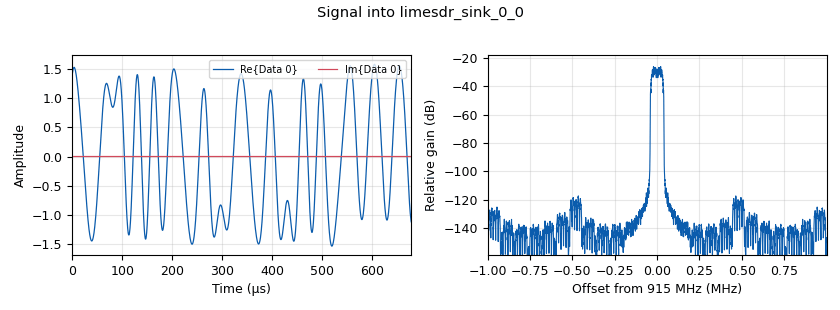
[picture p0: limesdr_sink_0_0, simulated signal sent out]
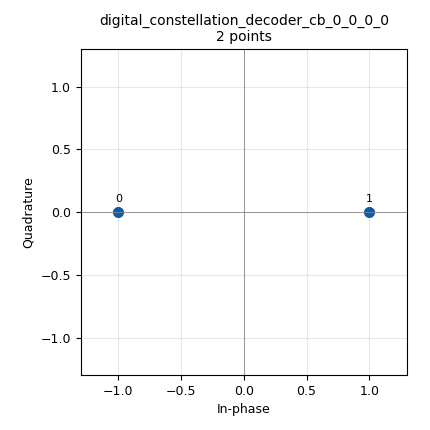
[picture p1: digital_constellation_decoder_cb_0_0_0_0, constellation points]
options:
  parameters:
    category: Custom
    generate_options: qt_gui
    id: bpsk_timing
    output_language: python
  states: {}

blocks:
- name: baseband
  id: variable_qtgui_entry
  parameters:
    label: RX Baseband [MHz]
    type: real
    value: '915'
  states: {}
- name: const
  id: variable
  parameters:
    value: digital.bpsk_constellation()
  states: {}
- name: constellation
  id: variable_constellation
  parameters:
    precision: '8'
    type: bpsk
  states: {}
- name: delay
  id: variable_qtgui_entry
  parameters:
    type: int
    value: '0'
  states: {}
- name: freq_offset
  id: variable_qtgui_range
  parameters:
    gui_hint: 4,2,1,1
    label: Frequency Offset
    orient: Qt.Horizontal
    start: '-.5'
    step: '.01'
    stop: '.5'
    value: '0'
  states: {}
- name: gain
  id: variable_qtgui_range
  parameters:
    label: Gain [dB]
    min_len: '70'
    orient: Qt.Horizontal
    rangeType: int
    start: '0'
    step: '1'
    stop: '60'
    value: '30'
  states: {}
- name: interpratio
  id: variable_qtgui_range
  parameters:
    gui_hint: 2,2,1,1
    label: Timing Offset
    orient: Qt.Horizontal
    start: '.99'
    step: '0.0001'
    stop: '1.01'
    value: '1'
  states: {}
- name: nfilts
  id: variable
  parameters:
    value: '32'
  states: {}
- name: noise_amp
  id: variable_qtgui_range
  parameters:
    gui_hint: 3,2,1,1
    label: Channel Noise
    orient: Qt.Horizontal
    start: '0'
    step: '.001'
    stop: '1'
    value: '0'
  states: {}
- name: rolloff
  id: variable
  parameters:
    value: '.35'
  states: {}
- name: samp_rate
  id: variable
  parameters:
    value: 2e6
  states: {}
- name: sig_amp
  id: variable
  parameters:
    value: '1'
  states: {}
- name: spb
  id: variable
  parameters:
    value: '4.2563'
  states: {}
- name: time_bw
  id: variable_qtgui_range
  parameters:
    gui_hint: 1,2,1,1
    label: Timing Loop BW
    orient: Qt.Horizontal
    start: '0'
    step: '.001'
    stop: '.1'
    value: '0'
  states: {}
- name: trans_width
  id: variable_qtgui_range
  parameters:
    label: Transition width
    orient: Qt.Horizontal
    start: 10e3
    step: '500'
    stop: 500e3
    value: 10e3
  states: {state: disabled}
- name: analog_random_source_x
  id: analog_random_source_x
  parameters:
    max: const.arity()
    min: '0'
    num_samps: '10000000'
    repeat: 'True'
    type: byte
  states: {state: disabled}
- name: analog_random_source_x_0
  id: analog_random_source_x
  parameters:
    max: '256'
    min: '0'
    num_samps: '10000'
    repeat: 'True'
    type: byte
  states: {}
- name: blocks_char_to_float_0
  id: blocks_char_to_float
  parameters:
    scale: '1'
  states: {}
- name: blocks_char_to_float_0_0
  id: blocks_char_to_float
  parameters:
    scale: '1'
  states: {}
- name: blocks_delay_1
  id: blocks_delay
  parameters:
    delay: '0'
    type: complex
  states: {}
- name: blocks_file_source_0
  id: blocks_file_source
  parameters:
    file: /home/wbarnhart/ch1
    offset: '1000'
    repeat: 'False'
    type: complex
  states: {state: disabled}
- name: blocks_file_source_0_0
  id: blocks_file_source
  parameters:
    file: /home/wbarnhart/ch2
    offset: '1000'
    repeat: 'False'
    type: complex
  states: {state: disabled}
- name: blocks_file_source_1
  id: blocks_file_source
  parameters:
    file: /home/wbarnhart/bittest
    repeat: 'True'
    type: byte
  states: {state: disabled}
- name: blocks_throttle_0
  id: blocks_throttle
  parameters:
    samples_per_second: samp_rate
    type: complex
  states: {}
- name: blocks_throttle_0_0
  id: blocks_throttle
  parameters:
    samples_per_second: samp_rate
    type: complex
  states: {}
- name: digital_chunks_to_symbols_xx
  id: digital_chunks_to_symbols_xx
  parameters:
    dimension: '1'
    in_type: byte
    out_type: complex
    symbol_table: const.points()
  states: {state: disabled}
- name: digital_cma_equalizer_cc_0
  id: digital_cma_equalizer_cc
  parameters:
    modulus: '1'
    mu: '1'
    num_taps: '15'
    sps: '4'
  states: {}
- name: digital_cma_equalizer_cc_0_0
  id: digital_cma_equalizer_cc
  parameters:
    modulus: '1'
    mu: '1'
    num_taps: '15'
    sps: '4'
  states: {}
- name: digital_constellation_decoder_cb_0_0
  id: digital_constellation_decoder_cb
  parameters:
    constellation: const
  states: {state: disabled}
- name: digital_constellation_decoder_cb_0_0_0
  id: digital_constellation_decoder_cb
  parameters:
    constellation: const
  states: {state: disabled}
- name: digital_constellation_decoder_cb_0_0_0_0
  id: digital_constellation_decoder_cb
  parameters:
    constellation: constellation
  states: {}
- name: digital_constellation_decoder_cb_0_0_0_0_0
  id: digital_constellation_decoder_cb
  parameters:
    constellation: constellation
  states: {}
- name: digital_constellation_modulator_1
  id: digital_constellation_modulator
  parameters:
    constellation: constellation
    differential: 'False'
    excess_bw: '0.35'
    samples_per_symbol: int(2*25/6)
  states: {}
- name: digital_costas_loop_cc_0
  id: digital_costas_loop_cc
  parameters:
    order: '4'
    w: time_bw
  states: {}
- name: digital_costas_loop_cc_0_0
  id: digital_costas_loop_cc
  parameters:
    order: '4'
    w: time_bw
  states: {}
- name: digital_pfb_clock_sync_xxx_0
  id: digital_pfb_clock_sync_xxx
  parameters:
    filter_size: nfilts
    init_phase: '0'
    loop_bw: time_bw
    max_dev: '1'
    osps: '1'
    sps: '8'
    taps: firdes.root_raised_cosine(nfilts, nfilts*spb, 1.0, rolloff, 44*nfilts)
    type: ccf
  states: {state: disabled}
- name: digital_pfb_clock_sync_xxx_0_0
  id: digital_pfb_clock_sync_xxx
  parameters:
    filter_size: nfilts
    init_phase: '0'
    loop_bw: time_bw
    max_dev: '1'
    osps: '1'
    sps: '8'
    taps: firdes.root_raised_cosine(nfilts, nfilts*spb, 1.0, rolloff, 44*nfilts)
    type: ccf
  states: {state: disabled}
- name: digital_symbol_sync_xx_0
  id: digital_symbol_sync_xx
  parameters:
    damping: '1.0'
    loop_bw: '0.045'
    max_dev: '1.5'
    osps: '1'
    resamp_type: digital.IR_MMSE_8TAP
    sps: '8'
    ted_gain: '1.0'
    ted_type: digital.TED_MUELLER_AND_MULLER
    type: cc
  states: {}
- name: digital_symbol_sync_xx_0_0
  id: digital_symbol_sync_xx
  parameters:
    damping: '1.0'
    loop_bw: '0.045'
    max_dev: '1.5'
    osps: '1'
    resamp_type: digital.IR_MMSE_8TAP
    sps: '8'
    ted_gain: '1.0'
    ted_type: digital.TED_MUELLER_AND_MULLER
    type: cc
  states: {}
- name: fec_ber_bf_0
  id: fec_ber_bf
  parameters:
    test_mode: 'False'
  states: {}
- name: fec_ber_bf_0_0
  id: fec_ber_bf
  parameters:
    test_mode: 'False'
  states: {state: disabled}
- name: fec_ber_bf_0_1
  id: fec_ber_bf
  parameters:
    test_mode: 'False'
  states: {}
- name: fec_ber_bf_0_1_0
  id: fec_ber_bf
  parameters:
    test_mode: 'False'
  states: {}
- name: import_0
  id: import
  parameters:
    imports: from gnuradio import digital
  states: {}
- name: limesdr_sink_0_0
  id: limesdr_sink
  parameters:
    allow_tcxo_dac: '0'
    channel_mode: '0'
    comment: LimeSDR Mini here!
    gain_dB_ch0: gain
    oversample: '0'
    rf_freq: baseband*1e6
    samp_rate: samp_rate
    serial: 1D423F7CD55972
  states: {}
- name: limesdr_source_0
  id: limesdr_source
  parameters:
    allow_tcxo_dac: '0'
    analog_bandw_ch0: 2e6
    analog_bandw_ch1: 2e6
    channel_mode: '2'
    comment: |-
      1: Vertical
      2: Horizontal
    digital_bandw_ch0: 1.8e6
    digital_bandw_ch1: 1.8e6
    gain_dB_ch0: gain
    gain_dB_ch1: gain
    lna_path_ch0: '3'
    lna_path_ch1: '3'
    oversample: '0'
    rf_freq: baseband*1e6
    samp_rate: 2e6
    serial: 0009070105C62E09
  states: {}
- name: notebook
  id: qtgui_tab_widget
  parameters:
    gui_hint: 1,1,5,1
    label0: Error
    label1: Phase
    label2: Freq
    label3: Resampled Signal
    label4: Errors
    num_tabs: '5'
  states: {state: disabled}
- name: pfb_arb_resampler_xxx_0_0_0
  id: pfb_arb_resampler_xxx
  parameters:
    atten: '100'
    nfilts: '32'
    rrate: '1'
    taps: firdes.root_raised_cosine(nfilts, nfilts, 1.0, rolloff, 44*nfilts)
    type: ccf
  states: {state: disabled}
- name: pfb_arb_resampler_xxx_0_0_0_0
  id: pfb_arb_resampler_xxx
  parameters:
    atten: '100'
    nfilts: '32'
    rrate: spb
    taps: firdes.root_raised_cosine(nfilts, nfilts, 1.0, rolloff, 44*nfilts)
    type: ccf
  states: {state: disabled}
- name: qtgui_freq_sink_x_0
  id: qtgui_freq_sink_x
  parameters:
    bw: samp_rate
    fc: baseband*1e6
    fftsize: '2048'
    name: '"Transmiting data"'
    type: complex
    wintype: firdes.WIN_BLACKMAN_hARRIS
  states: {state: disabled}
- name: qtgui_number_sink_0
  id: qtgui_number_sink
  parameters:
    graph_type: qtgui.NUM_GRAPH_HORIZ
    gui_hint: notebook@4
    type: float
    update_time: '1'
  states: {state: disabled}
- name: qtgui_number_sink_0_0_1_0
  id: qtgui_number_sink
  parameters:
    autoscale: 'True'
    color1: ("blue", "red")
    color2: ("blue", "red")
    color3: ("blue", "red")
    graph_type: qtgui.NUM_GRAPH_HORIZ
    label1: BER
    min: '0'
    name: '"Synchronized"'
    nconnections: '3'
    type: float
    unit3: Consolidated
    update_time: '0.1'
  states: {}
- name: qtgui_time_sink_x_0
  id: qtgui_time_sink_x
  parameters:
    gui_hint: notebook@3
    label1: ''
    label2: ''
    name: Error
    size: '1024'
    srate: samp_rate
    type: complex
  states: {state: disabled}
- name: qtgui_time_sink_x_0_0
  id: qtgui_time_sink_x
  parameters:
    autoscale: 'True'
    ctrlpanel: 'True'
    grid: 'True'
    gui_hint: 30,0,15,2
    label1: ''
    label2: ''
    label3: ''
    label4: ''
    name: Scope Plot
    nconnections: '2'
    size: '1024'
    srate: samp_rate
    type: complex
  states: {}
- name: qtgui_time_sink_x_1
  id: qtgui_time_sink_x
  parameters:
    autoscale: 'True'
    gui_hint: notebook@0
    label1: ''
    name: Error
    size: '1024'
    srate: samp_rate
    type: float
  states: {state: disabled}
- name: qtgui_time_sink_x_1_0
  id: qtgui_time_sink_x
  parameters:
    autoscale: 'True'
    gui_hint: notebook@2
    label1: ''
    name: Rate
    size: '1024'
    srate: samp_rate
    type: float
  states: {state: disabled}
- name: qtgui_time_sink_x_1_1
  id: qtgui_time_sink_x
  parameters:
    autoscale: 'True'
    gui_hint: notebook@1
    label1: ''
    name: Phase
    size: '1024'
    srate: samp_rate
    type: float
  states: {state: disabled}
- name: qtgui_time_sink_x_2
  id: qtgui_time_sink_x
  parameters:
    ctrlpanel: 'True'
    grid: 'True'
    nconnections: '2'
    size: '1024'
    srate: samp_rate
    tr_mode: qtgui.TRIG_MODE_NORM
    type: float
    ymax: '3'
  states: {}
- name: rational_resampler_xxx_0
  id: rational_resampler_xxx
  parameters:
    decim: '6'
    interp: '25'
    taps: ''
    type: ccc
  states: {}

connections:
- [analog_random_source_x, '0', digital_chunks_to_symbols_xx, '0']
- [analog_random_source_x_0, '0', digital_constellation_modulator_1, '0']
- [analog_random_source_x_0, '0', fec_ber_bf_0, '0']
- [analog_random_source_x_0, '0', fec_ber_bf_0_1, '0']
- [blocks_char_to_float_0, '0', qtgui_time_sink_x_2, '0']
- [blocks_char_to_float_0_0, '0', qtgui_time_sink_x_2, '1']
- [blocks_delay_1, '0', digital_pfb_clock_sync_xxx_0, '0']
- [blocks_delay_1, '0', digital_symbol_sync_xx_0, '0']
- [blocks_file_source_1, '0', fec_ber_bf_0_0, '1']
- [blocks_throttle_0, '0', blocks_delay_1, '0']
- [blocks_throttle_0_0, '0', digital_pfb_clock_sync_xxx_0_0, '0']
- [blocks_throttle_0_0, '0', digital_symbol_sync_xx_0_0, '0']
- [digital_cma_equalizer_cc_0, '0', blocks_throttle_0, '0']
- [digital_cma_equalizer_cc_0_0, '0', blocks_throttle_0_0, '0']
- [digital_constellation_decoder_cb_0_0, '0', fec_ber_bf_0_0, '0']
- [digital_constellation_decoder_cb_0_0_0, '0', fec_ber_bf_0_0, '1']
- [digital_constellation_decoder_cb_0_0_0_0, '0', blocks_char_to_float_0, '0']
- [digital_constellation_decoder_cb_0_0_0_0, '0', fec_ber_bf_0, '1']
- [digital_constellation_decoder_cb_0_0_0_0, '0', fec_ber_bf_0_1_0, '0']
- [digital_constellation_decoder_cb_0_0_0_0_0, '0', blocks_char_to_float_0_0, '0']
- [digital_constellation_decoder_cb_0_0_0_0_0, '0', fec_ber_bf_0_1, '1']
- [digital_constellation_decoder_cb_0_0_0_0_0, '0', fec_ber_bf_0_1_0, '1']
- [digital_constellation_modulator_1, '0', rational_resampler_xxx_0, '0']
- [digital_costas_loop_cc_0, '0', digital_constellation_decoder_cb_0_0_0_0, '0']
- [digital_costas_loop_cc_0, '0', qtgui_time_sink_x_0_0, '0']
- [digital_costas_loop_cc_0_0, '0', digital_constellation_decoder_cb_0_0_0_0_0, '0']
- [digital_costas_loop_cc_0_0, '0', qtgui_time_sink_x_0_0, '1']
- [digital_pfb_clock_sync_xxx_0, '0', digital_costas_loop_cc_0, '0']
- [digital_pfb_clock_sync_xxx_0, '0', pfb_arb_resampler_xxx_0_0_0, '0']
- [digital_pfb_clock_sync_xxx_0, '1', qtgui_time_sink_x_1, '0']
- [digital_pfb_clock_sync_xxx_0, '2', qtgui_time_sink_x_1_0, '0']
- [digital_pfb_clock_sync_xxx_0, '3', qtgui_time_sink_x_1_1, '0']
- [digital_pfb_clock_sync_xxx_0_0, '0', digital_costas_loop_cc_0_0, '0']
- [digital_pfb_clock_sync_xxx_0_0, '0', pfb_arb_resampler_xxx_0_0_0_0, '0']
- [digital_symbol_sync_xx_0, '0', digital_costas_loop_cc_0, '0']
- [digital_symbol_sync_xx_0_0, '0', digital_costas_loop_cc_0_0, '0']
- [fec_ber_bf_0, '0', qtgui_number_sink_0_0_1_0, '0']
- [fec_ber_bf_0_0, '0', qtgui_number_sink_0, '0']
- [fec_ber_bf_0_1, '0', qtgui_number_sink_0_0_1_0, '1']
- [fec_ber_bf_0_1_0, '0', qtgui_number_sink_0_0_1_0, '2']
- [limesdr_source_0, '0', digital_cma_equalizer_cc_0, '0']
- [limesdr_source_0, '1', digital_cma_equalizer_cc_0_0, '0']
- [pfb_arb_resampler_xxx_0_0_0, '0', digital_constellation_decoder_cb_0_0, '0']
- [pfb_arb_resampler_xxx_0_0_0_0, '0', digital_constellation_decoder_cb_0_0_0, '0']
- [rational_resampler_xxx_0, '0', limesdr_sink_0_0, '0']
- [rational_resampler_xxx_0, '0', qtgui_freq_sink_x_0, '0']

metadata:
  file_format: 1
